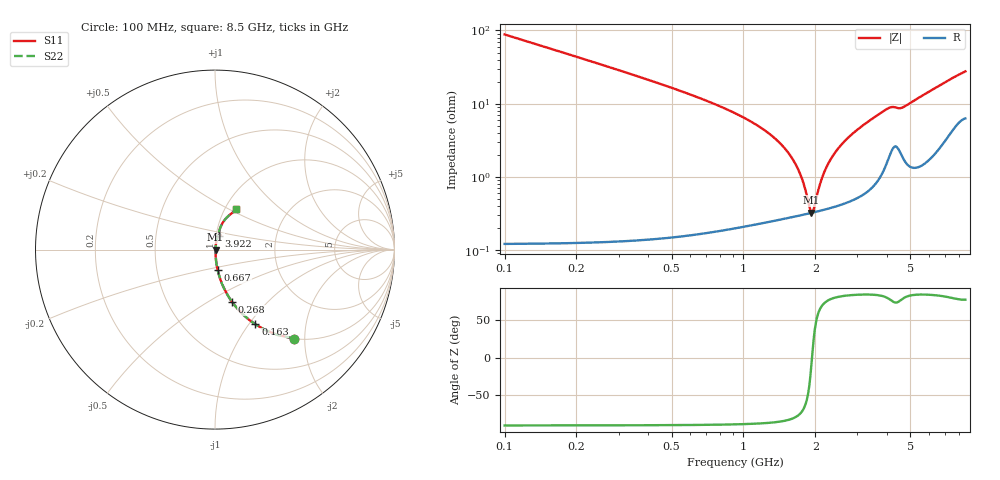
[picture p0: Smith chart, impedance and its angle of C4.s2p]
!Murata Part Number: GRM1552C1H180GA01
!These Parameters are Measured in Series Mode Connection
!  o--ll--o
!Port1  Port2
!  o------o
!Operation Temp=25[C], DC Bias Voltage=0[V]
!Freq. Start=100[MHz] Stop=8500[MHz] 401[Steps]
# Hz S RI R 50
!Freq.(Hz) S11(Real) S11(Imag) S21(Real) S21(Imag) S12(Real) S12(Imag) S22(Real) S22(Imag)
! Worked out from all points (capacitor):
!   401 points, 100 MHz to 8.5 GHz, reference 50 ohm
!   read as one part in series: C = 18 pF near 142 MHz
!   lowest |Z| = 326 mohm at 1.927 GHz (marker M1)
!   series resonance near 1.937 GHz, so ESL is about 370 pH
!   S11 on the Smith chart (normalised r, x): 100 MHz: 1.00, -1.76; 163 MHz: 1.00, -1.08; 268 MHz: 1.00, -0.65; 667 MHz: 1.00, -0.23; 3.922 GHz: 1.03, +0.16; 8.5 GHz: 1.13, +0.54
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1e8  0.4375 -0.4954  0.5625 0.4954  0.5625 0.4954  0.4375 -0.4954
1.63e8  0.2254 -0.4167  0.7746 0.4167  0.7746 0.4167  0.2254 -0.4167
2.68e8  0.0957 -0.2922  0.9043 0.2922  0.9043 0.2922  0.0957 -0.2922
4.36e8  0.037 -0.185  0.963 0.185  0.963 0.185  0.037 -0.185
6.67e8  0.015 -0.1148  0.985 0.1148  0.985 0.1148  0.015 -0.1148
1.234e9  0.00416 -0.0424  0.9958 0.0424  0.9958 0.0424  0.00416 -0.0424
1.507e9  0.00323 -0.0231  0.9968 0.0231  0.9968 0.0231  0.00323 -0.0231
1.717e9  0.00307 -0.0111  0.9969 0.0111  0.9969 0.0111  0.00307 -0.0111
1.885e9  0.00316 -0.0025  0.9968 0.0025  0.9968 0.0025  0.00316 -0.0025
1.927e9  0.00321 -0.000476  0.9968 0.000476  0.9968 0.000476  0.00321 -0.000476
1.969e9  0.00327 0.00151  0.9967 -0.00151  0.9967 -0.00151  0.00327 0.00151
2.074e9  0.00344 0.00632  0.9966 -0.00632  0.9966 -0.00632  0.00344 0.00632
2.158e9  0.00361 0.01  0.9964 -0.01  0.9964 -0.01  0.00361 0.01
2.305e9  0.00399 0.0163  0.996 -0.0163  0.996 -0.0163  0.00399 0.0163
2.557e9  0.00483 0.0264  0.9952 -0.0264  0.9952 -0.0264  0.00483 0.0264
2.914e9  0.00649 0.0401  0.9935 -0.0401  0.9935 -0.0401  0.00649 0.0401
3.922e9  0.0196 0.0781  0.9804 -0.0781  0.9804 -0.0781  0.0196 0.0781
4.3e9  0.032 0.0806  0.968 -0.0806  0.968 -0.0806  0.032 0.0806
4.615e9  0.0257 0.0822  0.9743 -0.0822  0.9743 -0.0822  0.0257 0.0822
5.707e9  0.0312 0.1264  0.9688 -0.1264  0.9688 -0.1264  0.0312 0.1264
7.114e9  0.0674 0.1806  0.9326 -0.1806  0.9326 -0.1806  0.0674 0.1806
8.5e9  0.1157 0.2237  0.8843 -0.2237  0.8843 -0.2237  0.1157 0.2237
